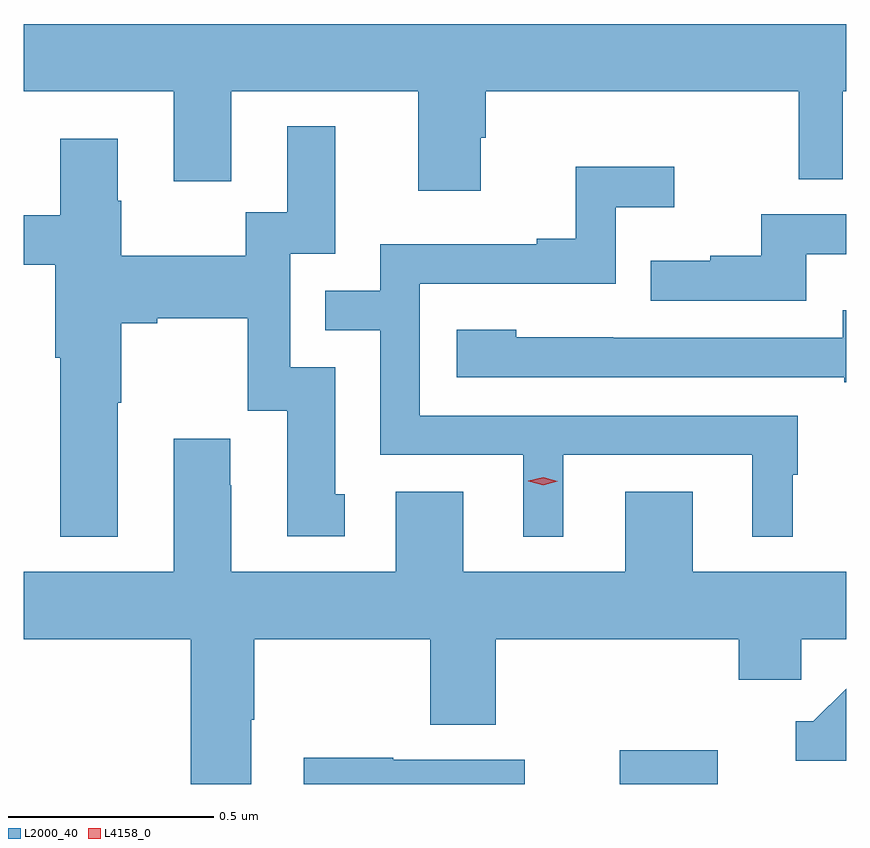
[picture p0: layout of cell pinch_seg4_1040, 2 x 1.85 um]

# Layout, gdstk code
import gdstk
lib = gdstk.Library(unit=1e-6, precision=1e-09)
def R(c, l, rs):  # rectangles x0, y0, x1, y1
    for r in rs: c.add(gdstk.rectangle(r[:2], r[2:], *l))
def P(c, l, *ps):  # polygons
    for p in ps: c.add(gdstk.Polygon(p, *l))
L2000_40 = (2000, 40)
L4158_0 = (4158, 0)

pinch_seg4_1040 = lib.new_cell('pinch_seg4_1040')
R(pinch_seg4_1040, L2000_40, [(794.385,780.484,794.624,780.566)])
P(pinch_seg4_1040, L2000_40, [(794.047,782.055),(794.06,782.055),(794.06,782.168),(794.82,782.168),(794.82,781.954),(794.928,781.954),(794.928,782.168),(794.936,782.168),(794.936,782.332),(792.936,782.332),(792.936,782.168),(793.301,782.168),(793.301,781.95),(793.441,781.95),(793.441,782.168),(793.895,782.168),(793.895,781.926),(794.047,781.926)],
  [(793.165,781.411),(793.173,781.411),(793.173,781.604),(793.261,781.604),(793.261,781.616),(793.481,781.616),(793.481,781.392),(793.577,781.392),(793.577,781.086),(793.717,781.086),(793.717,781.188),(793.693,781.188),(793.693,781.497),(793.584,781.497),(793.584,781.773),(793.693,781.773),(793.693,782.083),(793.577,782.083),(793.577,781.874),(793.476,781.874),(793.476,781.768),(793.173,781.768),(793.173,781.902),(793.165,781.902),(793.165,782.053),(793.025,782.053),(793.025,781.867),(792.936,781.867),(792.936,781.746),(793.013,781.746),(793.013,781.52),(793.025,781.52),(793.025,781.085),(793.165,781.085)],
  [(794.248,781.284),(794.708,781.284),(794.708,781.085),(794.806,781.085),(794.806,781.236),(794.818,781.236),(794.818,781.38),(793.899,781.38),(793.899,781.701),(794.376,781.701),(794.376,781.886),(794.518,781.886),(794.518,781.985),(794.278,781.985),(794.278,781.81),(794.183,781.81),(794.183,781.797),(793.803,781.797),(793.803,781.683),(793.669,781.683),(793.669,781.587),(793.803,781.587),(793.803,781.284),(794.15,781.284),(794.15,781.085),(794.248,781.085)],
  [(794.839,781.772),(794.936,781.772),(794.936,781.869),(794.729,781.869),(794.729,781.768),(794.605,781.768),(794.605,781.756),(794.461,781.756),(794.461,781.659),(794.839,781.659)],
  [(794.936,781.636),(794.927,781.636),(794.927,781.569),(794.369,781.569),(794.369,781.57),(794.133,781.57),(794.133,781.588),(793.989,781.588),(793.989,781.473),(794.931,781.473),(794.931,781.461),(794.936,781.461)],
  [(793.489,780.64),(793.497,780.64),(793.497,780.836),(793.924,780.836),(793.924,780.628),(794.084,780.628),(794.084,780.836),(794.675,780.836),(794.675,780.738),(794.826,780.738),(794.826,780.836),(794.936,780.836),(794.936,781),(794.563,781),(794.563,781.195),(794.399,781.195),(794.399,781),(794.005,781),(794.005,781.195),(793.841,781.195),(793.841,781),(793.441,781),(793.441,781.211),(793.438,781.211),(793.438,781.324),(793.301,781.324),(793.301,781),(792.936,781),(792.936,780.836),(793.342,780.836),(793.342,780.484),(793.489,780.484)],
  [(794.936,780.716),(794.856,780.636),(794.813,780.636),(794.813,780.54),(794.936,780.54)],
  [(794.154,780.543),(793.835,780.543),(793.835,780.548),(793.617,780.548),(793.617,780.484),(794.154,780.484)])
P(pinch_seg4_1040, L4158_0, [(794.199,781.21),(794.163,781.22),(794.163,781.22),(794.163,781.221),(794.199,781.23),(794.235,781.22),(794.235,781.22),(794.235,781.22)])

lib.write_gds('pinch_seg4_1040.gds')
